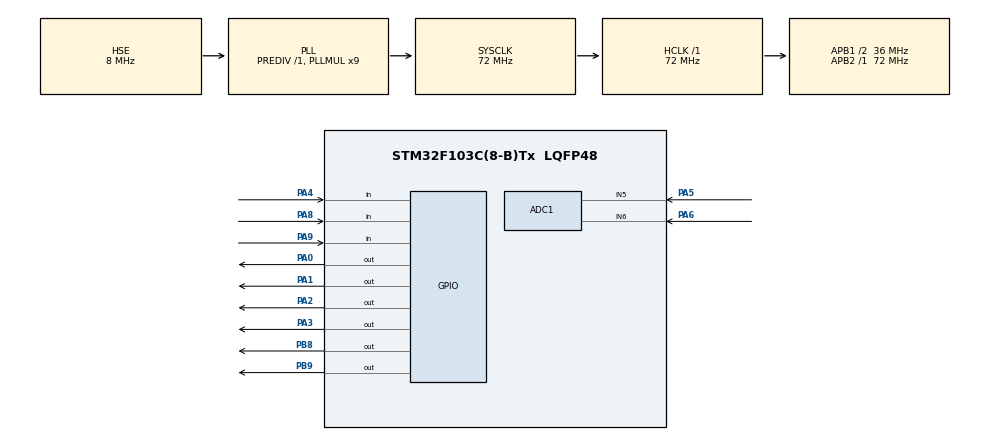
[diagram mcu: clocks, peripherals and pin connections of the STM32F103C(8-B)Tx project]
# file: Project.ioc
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ADC1.Channel-0\#ChannelRegularConversion=ADC_CHANNEL_5
ADC1.Channel-1\#ChannelRegularConversion=ADC_CHANNEL_6
ADC1.ContinuousConvMode=ENABLE
ADC1.NbrOfConversion=2
ADC1.NbrOfConversionFlag=1
ADC1.Rank-0\#ChannelRegularConversion=1
ADC1.Rank-1\#ChannelRegularConversion=2
ADC1.SamplingTime-0\#ChannelRegularConversion=ADC_SAMPLETIME_55CYCLES_5
ADC1.SamplingTime-1\#ChannelRegularConversion=ADC_SAMPLETIME_55CYCLES_5
ADC1.master=1
Dma.ADC1.0.Direction=DMA_PERIPH_TO_MEMORY
Dma.ADC1.0.Instance=DMA1_Channel1
Dma.ADC1.0.MemDataAlignment=DMA_MDATAALIGN_WORD
Dma.ADC1.0.MemInc=DMA_MINC_ENABLE
Dma.ADC1.0.Mode=DMA_CIRCULAR
Dma.ADC1.0.PeriphDataAlignment=DMA_PDATAALIGN_WORD
Dma.ADC1.0.PeriphInc=DMA_PINC_DISABLE
Dma.ADC1.0.Priority=DMA_PRIORITY_LOW
Dma.Request0=ADC1
Mcu.Family=STM32F1
Mcu.Name=STM32F103C(8-B)Tx
Mcu.Package=LQFP48
NVIC.DMA1_Channel1_IRQn=true\:0\:0\:false\:false\:true\:false\:true\:true
NVIC.PriorityGroup=NVIC_PRIORITYGROUP_4
PA0-WKUP.Signal=GPIO_Output
PA1.GPIO_PuPd=GPIO_PULLUP
PA1.Signal=GPIO_Output
PA13.Mode=Serial_Wire
PA13.Signal=SYS_JTMS-SWDIO
PA14.Mode=Serial_Wire
PA14.Signal=SYS_JTCK-SWCLK
PA2.Signal=GPIO_Output
PA3.Signal=GPIO_Output
PA4.GPIO_PuPd=GPIO_PULLUP
PA4.Signal=GPIO_Input
PA5.Signal=ADCx_IN5
PA6.Signal=ADCx_IN6
PA8.GPIO_PuPd=GPIO_PULLUP
PA8.Signal=GPIO_Input
PA9.GPIO_PuPd=GPIO_PULLUP
PA9.Signal=GPIO_Input
PB8.GPIO_ModeDefaultOutputPP=GPIO_MODE_OUTPUT_OD
PB8.GPIO_PuPd=GPIO_PULLUP
PB8.Signal=GPIO_Output
PB9.GPIO_ModeDefaultOutputPP=GPIO_MODE_OUTPUT_OD
PB9.GPIO_PuPd=GPIO_PULLUP
PB9.Signal=GPIO_Output
PD0-OSC_IN.Mode=HSE-External-Oscillator
PD0-OSC_IN.Signal=RCC_OSC_IN
PD1-OSC_OUT.Mode=HSE-External-Oscillator
PD1-OSC_OUT.Signal=RCC_OSC_OUT
ProjectManager.HeapSize=0x200
ProjectManager.StackSize=0x400
ProjectManager.TargetToolchain=CMake
RCC.ADCPresc=RCC_ADCPCLK2_DIV6
RCC.AHBFreq_Value=72000000
RCC.APB1CLKDivider=RCC_HCLK_DIV2
RCC.APB1Freq_Value=36000000
RCC.APB1TimFreq_Value=72000000
RCC.APB2Freq_Value=72000000
RCC.APB2TimFreq_Value=72000000
RCC.HCLKFreq_Value=72000000
RCC.PLLMUL=RCC_PLL_MUL9
RCC.PLLSourceVirtual=RCC_PLLSOURCE_HSE
RCC.SYSCLKFreq_VALUE=72000000
RCC.SYSCLKSource=RCC_SYSCLKSOURCE_PLLCLK
RCC.USBFreq_Value=72000000
SH.ADCx_IN5.0=ADC1_IN5,IN5
SH.ADCx_IN6.0=ADC1_IN6,IN6
board=custom

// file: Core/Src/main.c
/* USER CODE BEGIN Header */
/**
  ******************************************************************************
  * @file           : main.c
  * @brief          : Main program body
  ******************************************************************************
  * @attention
  *
  * Copyright (c) 2025 STMicroelectronics.
  * All rights reserved.
  *
  * This software is licensed under terms that can be found in the LICENSE file
  * in the root directory of this software component.
  * If no LICENSE file comes with this software, it is provided AS-IS.
  *
  ******************************************************************************
  */
/* USER CODE END Header */
#include "main.h"
#include "adc.h"
#include "dma.h"
#include "gpio.h"

/* USER CODE BEGIN Includes */
#include "OLED.h"
#include "NRF24L01.h"
#include "stm32f103xb.h"
#include "Key.h"
#include "stm32f1xx_hal.h"
#include "stm32f1xx_hal_adc.h"
#include "stm32f1xx_hal_adc_ex.h"
#include <stdint.h>
/* USER CODE END Includes */

/* USER CODE BEGIN PV */

uint8_t KeyNum;
uint8_t SendFlag;								//发送标志位
uint8_t SendSuccessCount, SendFailedCount;		//发送成功计次，发送失败计次

uint8_t ReceiveFlag;							//接收标志位
uint8_t ReceiveSuccessCount, ReceiveFailedCount;//接收成功计次，接收失败计次
/* USER CODE END PV */

void SystemClock_Config(void);

int main(void)
{

  /* USER CODE BEGIN 1 */
	OLED_Init();
	//NRF24L01初始化
	NRF24L01_Init();

  /* USER CODE END 1 */

  /* MCU Configuration--------------------------------------------------------*/

  /* Reset of all peripherals, Initializes the Flash interface and the Systick. */
  HAL_Init();

  /* USER CODE BEGIN Init */

	/*OLED显示静态字符串*/

  /* USER CODE END Init */

  /* Configure the system clock */
  SystemClock_Config();

  /* Initialize all configured peripherals */
  MX_GPIO_Init();
  MX_DMA_Init();
  MX_ADC1_Init();
  /* USER CODE BEGIN 2 */
  HAL_ADCEx_Calibration_Start(&hadc1);
	OLED_ShowString(1, 1, "T:000-000-0");		//格式为：T:发送成功计次-发送失败计次-发送标志位

  uint32_t ADC_value[2];
  HAL_ADC_Start_DMA(&hadc1, (uint32_t *)ADC_value, 2);//开启dma转运
  /* USER CODE END 2 */

  /* Infinite loop */
  /* USER CODE BEGIN WHILE */
  while (1)
  {
    NRF24L01_TxPacket[1] = ADC_value[0]/100;//拆成两个字节发送
    NRF24L01_TxPacket[2] = ADC_value[0]%100;
    NRF24L01_TxPacket[3] = ADC_value[1]/100;
    NRF24L01_TxPacket[4] = ADC_value[1]%100;

    KeyNum = Key_GetNum();
    if (KeyNum == 0)
    {
      NRF24L01_TxPacket[5] =0;
      NRF24L01_TxPacket[6] =0;
    }
    if (KeyNum == 1)				//左键按下
		{
			NRF24L01_TxPacket[5] =1;
    }
    if (KeyNum == 2)				//右键按下
    {
      NRF24L01_TxPacket[6] =1;
    }
    NRF24L01_TxPacket[0] = 0;  //消息id（默认为0）

			/*调用NRF24L01_Send函数，发送数据，同时返回发送标志位，方便用户了解发送状态*/
			/*发送标志位与发送状态的对应关系，可以转到此函数定义上方查看*/
			SendFlag = NRF24L01_Send();

			if (SendFlag == 1)			//发送标志位为1，表示发送成功
			{
				SendSuccessCount ++;
        HAL_Delay(100);	//发送成功计次变量自增
			}
			else						//发送标志位不为1，即2/3/4，表示发送不成功
			{
				SendFailedCount ++;		//发送失败计次变量自增
			}

			OLED_ShowNum(1, 3, SendSuccessCount, 3);	//显示发送成功次数
			OLED_ShowNum(1, 7, SendFailedCount, 3);		//显示发送失败次数
			OLED_ShowNum(1, 11, SendFlag, 1);			//显示最近一次的发送标志位

			/*显示发送数据*/
			OLED_ShowNum(2, 1, NRF24L01_TxPacket[1], 2);
			OLED_ShowNum(2, 3, NRF24L01_TxPacket[2], 2);
      OLED_ShowNum(2, 6, NRF24L01_TxPacket[3], 2);
			OLED_ShowNum(2, 8, NRF24L01_TxPacket[4], 2);
			OLED_ShowHexNum(3, 1, NRF24L01_TxPacket[5], 2);
			OLED_ShowHexNum(3, 4, NRF24L01_TxPacket[6], 2);

    //下方为江科大的接收示例，如有反馈需求可取消注释

		/*主循环内循环执行NRF24L01_Receive函数，接收数据，同时返回接收标志位，方便用户了解接收状态*/
		/*接收标志位与接收状态的对应关系，可以转到此函数定义上方查看*/
		// ReceiveFlag = NRF24L01_Receive();

		// if (ReceiveFlag)				//接收标志位不为0，表示收到了一个数据包
		// {
		// 	if (ReceiveFlag == 1)		//接收标志位为1，表示接收成功
		// 	{
		// 		ReceiveSuccessCount ++;	//接收成功计次变量自增
		// 	}
		// 	else	//接收标志位不为0也不为1，即2/3，表示此次接收产生了错误，错误接收的数据不应该使用
		// 	{
		// 		ReceiveFailedCount ++;	//接收失败计次变量自增
		// 	}

		// 	OLED_ShowNum(3, 3, ReceiveSuccessCount, 3);	//显示接收成功次数
		// 	OLED_ShowNum(3, 7, ReceiveFailedCount, 3);	//显示接收失败次数
		// 	OLED_ShowNum(3, 11, ReceiveFlag, 1);		//显示最近一次的接收标志位

		// 	/*显示接收数据*/
		// 	OLED_ShowHexNum(4, 1, NRF24L01_RxPacket[0], 2);
		// 	OLED_ShowHexNum(4, 4, NRF24L01_RxPacket[1], 2);
		// 	OLED_ShowHexNum(4, 7, NRF24L01_RxPacket[2], 2);
		// 	OLED_ShowHexNum(4, 10, NRF24L01_RxPacket[3], 2);

		// 	/*RX字符串闪烁一次，表明接收到了一次数据*/
		// 	OLED_ShowString(3, 15, "RX");
		// 	HAL_Delay(100);
		// 	OLED_ShowString(3, 15, "  ");
		// }
	}
    /* USER CODE END WHILE */

}

void SystemClock_Config(void)
{
  RCC_OscInitTypeDef RCC_OscInitStruct = {0};
  RCC_ClkInitTypeDef RCC_ClkInitStruct = {0};
  RCC_PeriphCLKInitTypeDef PeriphClkInit = {0};

  /** Initializes the RCC Oscillators according to the specified parameters
  * in the RCC_OscInitTypeDef structure.
  */
  RCC_OscInitStruct.OscillatorType = RCC_OSCILLATORTYPE_HSE;
  RCC_OscInitStruct.HSEState = RCC_HSE_ON;
  RCC_OscInitStruct.HSEPredivValue = RCC_HSE_PREDIV_DIV1;
  RCC_OscInitStruct.HSIState = RCC_HSI_ON;
  RCC_OscInitStruct.PLL.PLLState = RCC_PLL_ON;
  RCC_OscInitStruct.PLL.PLLSource = RCC_PLLSOURCE_HSE;
  RCC_OscInitStruct.PLL.PLLMUL = RCC_PLL_MUL9;
  if (HAL_RCC_OscConfig(&RCC_OscInitStruct) != HAL_OK)
  {
    Error_Handler();
  }

  /** Initializes the CPU, AHB and APB buses clocks
  */
  RCC_ClkInitStruct.ClockType = RCC_CLOCKTYPE_HCLK|RCC_CLOCKTYPE_SYSCLK
                              |RCC_CLOCKTYPE_PCLK1|RCC_CLOCKTYPE_PCLK2;
  RCC_ClkInitStruct.SYSCLKSource = RCC_SYSCLKSOURCE_PLLCLK;
  RCC_ClkInitStruct.AHBCLKDivider = RCC_SYSCLK_DIV1;
  RCC_ClkInitStruct.APB1CLKDivider = RCC_HCLK_DIV2;
  RCC_ClkInitStruct.APB2CLKDivider = RCC_HCLK_DIV1;

  if (HAL_RCC_ClockConfig(&RCC_ClkInitStruct, FLASH_LATENCY_2) != HAL_OK)
  {
    Error_Handler();
  }
  PeriphClkInit.PeriphClockSelection = RCC_PERIPHCLK_ADC;
  PeriphClkInit.AdcClockSelection = RCC_ADCPCLK2_DIV6;
  if (HAL_RCCEx_PeriphCLKConfig(&PeriphClkInit) != HAL_OK)
  {
    Error_Handler();
  }
}

void Error_Handler(void)
{
  __disable_irq();
  while (1)
  {
  }
}
